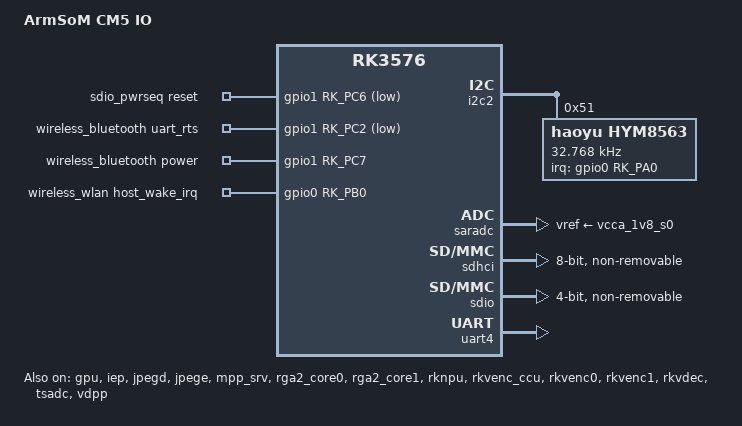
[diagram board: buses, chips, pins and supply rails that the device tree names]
// SPDX-License-Identifier: (GPL-2.0+ OR MIT)
/*
 * Copyright (c) 2024 Rockchip Electronics Co., Ltd.
 *
 */

/dts-v1/;

#include <dt-bindings/gpio/gpio.h>
#include <dt-bindings/pinctrl/rockchip.h>
#include "rk3576.dtsi"
#include "rk3576-rk806.dtsi"

/ {
	model = "ArmSoM CM5 IO";
	compatible = "armsom,cm5", "rockchip,rk3576";

	sdio_pwrseq: sdio-pwrseq {
		compatible = "mmc-pwrseq-simple";
		pinctrl-names = "default";
		pinctrl-0 = <&wifi_poweren_gpio>;

		/*
		 * On the module itself this is one of these (depending
		 * on the actual card populated):
		 * - SDIO_RESET_L_WL_REG_ON
		 * - PDN (power down when low)
		 */
		post-power-on-delay-ms = <200>;
		reset-gpios = <&gpio1 RK_PC6 GPIO_ACTIVE_LOW>;
	};

	wireless_bluetooth: wireless-bluetooth {
		compatible = "bluetooth-platdata";
		//wifi-bt-power-toggle;
		uart_rts_gpios = <&gpio1 RK_PC2 GPIO_ACTIVE_LOW>;
		pinctrl-names = "default", "rts_gpio";
		pinctrl-0 = <&uart4m1_rtsn>;
		pinctrl-1 = <&uart4m1_rts_gpio>;
		BT,power_gpio = <&gpio1 RK_PC7 GPIO_ACTIVE_HIGH>;
		//BT,reset_gpio    = <&gpio3 RK_PC3 GPIO_ACTIVE_HIGH>;
		//BT,wake_host_irq = <&gpio1 RK_PC2 GPIO_ACTIVE_HIGH>;
		status = "okay";
	};

	wireless_wlan: wireless-wlan {
		compatible = "wlan-platdata";
		wifi_chip_type = "rtl8852bs";
		clocks = <&hym8563>; //如果使用hym8563，只能配置一个
		clock-names = "ext_clock";
		pinctrl-names = "default";
		pinctrl-0 = <&wifi_host_wake_irq>;
		WIFI,host_wake_irq = <&gpio0 RK_PB0 GPIO_ACTIVE_HIGH>;
		status = "okay";
	};
};

&cpu_l0 {
	cpu-supply = <&vdd_cpu_lit_s0>;
};

&cpu_b0 {
	cpu-supply = <&vdd_cpu_big_s0>;
};

&gpu {
	mali-supply = <&vdd_gpu_s0>;
	status = "okay";
};

&i2c2 {
	status = "okay";

	hym8563: hym8563@51 {
		compatible = "haoyu,hym8563";
		reg = <0x51>;
		#clock-cells = <0>;
		clock-frequency = <32768>;
		clock-output-names = "hym8563";
		pinctrl-names = "default";
		pinctrl-0 = <&hym8563_int>;
		interrupt-parent = <&gpio0>;
		interrupts = <RK_PA0 IRQ_TYPE_LEVEL_LOW>;
		wakeup-source;
	};
};

&iep {
	status = "okay";
};

&iep_mmu {
	status = "okay";
};

&jpegd {
	status = "okay";
};

&jpege {
	status = "okay";
};

&jpeg_mmu {
	status = "okay";
};

&mpp_srv {
	status = "okay";
};

&pinctrl {
	hym8563 {
		hym8563_int: hym8563-int {
			rockchip,pins = <0 RK_PA0 RK_FUNC_GPIO &pcfg_pull_up>;
		};
	};

	wireless-bluetooth {
		uart4m1_rts_gpio: uart4m1-rts-gpio {
			rockchip,pins = <1 RK_PC2 RK_FUNC_GPIO &pcfg_pull_none>;
		};
	};

	wireless-wlan {
		wifi_host_wake_irq: wifi-host-wake-irq {
			rockchip,pins = <0 RK_PB0 RK_FUNC_GPIO &pcfg_pull_down>;
		};

		wifi_poweren_gpio: wifi-poweren-gpio {
			rockchip,pins = <1 RK_PC6 RK_FUNC_GPIO &pcfg_pull_up>;
		};
	};
};

&rga2_core0 {
	status = "okay";
};

&rga2_core0_mmu {
	status = "okay";
};

&rga2_core1 {
	status = "okay";
};

&rga2_core1_mmu {
	status = "okay";
};

&rknpu {
	rknpu-supply = <&vdd_npu_s0>;
	status = "okay";
};

&rknpu_mmu {
	status = "okay";
};

&rkvenc_ccu {
	status = "okay";
};

&rkvenc0 {
	status = "okay";
};

&rkvenc0_mmu {
	status = "okay";
};

&rkvenc1 {
	status = "okay";
};

&rkvenc1_mmu {
	status = "okay";

};

&rkvdec {
	status = "okay";
};

&rkvdec_mmu {
	status = "okay";
};

&rockchip_suspend {
	status = "okay";
	rockchip,sleep-debug-en = <1>;

	rockchip,sleep-io-ret-config = <
		(0
		| RKPM_VCCIO3_RET_EN
		)
	>;

	rockchip,regulator-on-before-mem = <&vdd_npu_s0>;
};

&saradc {
	status = "okay";
	vref-supply = <&vcca_1v8_s0>;
};

&sdhci {
	bus-width = <8>;
	no-sdio;
	no-sd;
	non-removable;
	max-frequency = <200000000>;
	mmc-hs400-1_8v;
	mmc-hs400-enhanced-strobe;
	full-pwr-cycle-in-suspend;
	status = "okay";
};

&sdio {
	max-frequency = <200000000>;
	no-sd;
	no-mmc;
	bus-width = <4>;
	disable-wp;
	cap-sd-highspeed;
	cap-sdio-irq;
	keep-power-in-suspend;
	mmc-pwrseq = <&sdio_pwrseq>;
	non-removable;
	pinctrl-names = "default";
	pinctrl-0 = <&sdmmc1m0_bus4 &sdmmc1m0_clk &sdmmc1m0_cmd>;
	sd-uhs-sdr104;
	status = "okay";
};

&tsadc {
	status = "okay";
};

&uart4 {
	status = "okay";
	pinctrl-names = "default";
	pinctrl-0 = <&uart4m1_xfer &uart4m1_ctsn>;
};

&vdpp {
	status = "okay";
};
